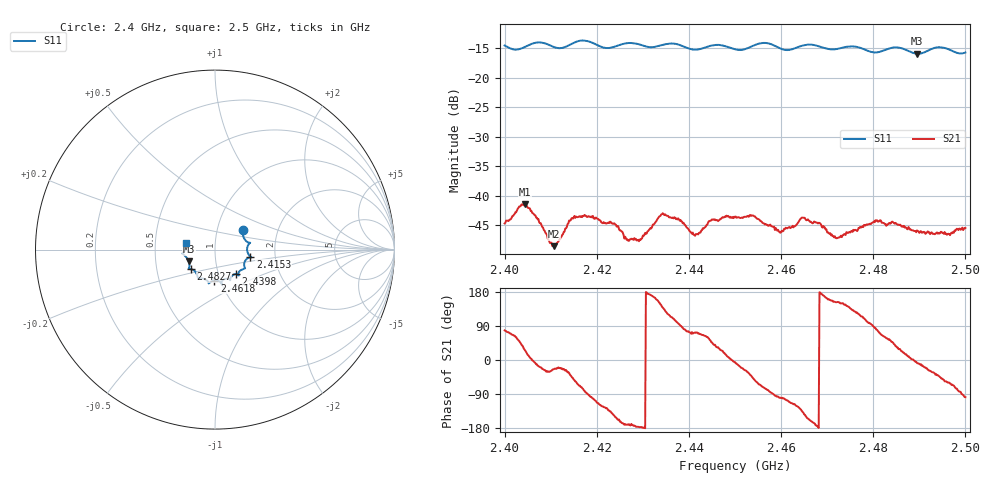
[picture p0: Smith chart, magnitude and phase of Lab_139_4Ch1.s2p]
# Hz S RI R 50
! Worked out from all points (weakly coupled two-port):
!   601 points, 2.4 GHz to 2.5 GHz, reference 50 ohm
!   highest |S21| = -41.48 dB at 2.4043 GHz (marker M1); lowest = -48.6 dB at 2.4107 GHz (marker M2)
!   lowest |S11| = -15.9 dB at 2.4895 GHz (marker M3), VSWR 1.38, Z = 37 - j5.03 ohm
!   |S11| at or under -10 dB: start of sweep to end of sweep
!   S12 and S22 are empty: the file has one direction only
!   S11 on the Smith chart (normalised r, x): 2.4 GHz: 1.33, +0.29; 2.4153 GHz: 1.49, -0.12; 2.4398 GHz: 1.21, -0.34; 2.4618 GHz: 0.94, -0.33; 2.4827 GHz: 0.75, -0.17; 2.5 GHz: 0.72, +0.06
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2.4e9  0.1553 0.1066  0.0012 0.00568  0 0  0 0
2.404333e9  0.1772 0.0442  0.00749 0.00388  0 0  0 0
2.410667e9  0.182 0.0192  0.00339 -0.00154  0 0  0 0
2.415333e9  0.1971 -0.0392  0.00356 -0.0054  0 0  0 0
2.416667e9  0.2028 -0.0435  0.00213 -0.00635  0 0  0 0
2.423333e9  0.1624 -0.0806  -0.00452 -0.00366  0 0  0 0
2.429e9  0.1618 -0.1062  -0.00421 -0.000267  0 0  0 0
2.433333e9  0.1298 -0.1336  -0.00587 0.00267  0 0  0 0
2.437333e9  0.1309 -0.1426  -0.00118 0.00627  0 0  0 0
2.439833e9  0.1154 -0.1357  0.00127 0.00508  0 0  0 0
2.4415e9  0.0997 -0.142  0.00148 0.00447  0 0  0 0
2.444833e9  0.0842 -0.1677  0.00416 0.00454  0 0  0 0
2.45e9  0.0654 -0.1622  0.00652 -0.00064  0 0  0 0
2.456333e9  0.0387 -0.1943  0.00164 -0.00555  0 0  0 0
2.461833e9  -0.00331 -0.1727  -0.00197 -0.00504  0 0  0 0
2.464667e9  -0.0319 -0.1852  -0.00475 -0.00445  0 0  0 0
2.466667e9  -0.035 -0.188  -0.00561 -0.00175  0 0  0 0
2.472333e9  -0.0739 -0.1603  -0.00391 0.00198  0 0  0 0
2.482667e9  -0.1345 -0.1087  0.00291 0.00494  0 0  0 0
2.483333e9  -0.1398 -0.1084  0.00343 0.00466  0 0  0 0
2.4895e9  -0.1459 -0.0662  0.00501 -0.00072  0 0  0 0
2.5e9  -0.1595 0.0385  -0.000752 -0.00525  0 0  0 0
